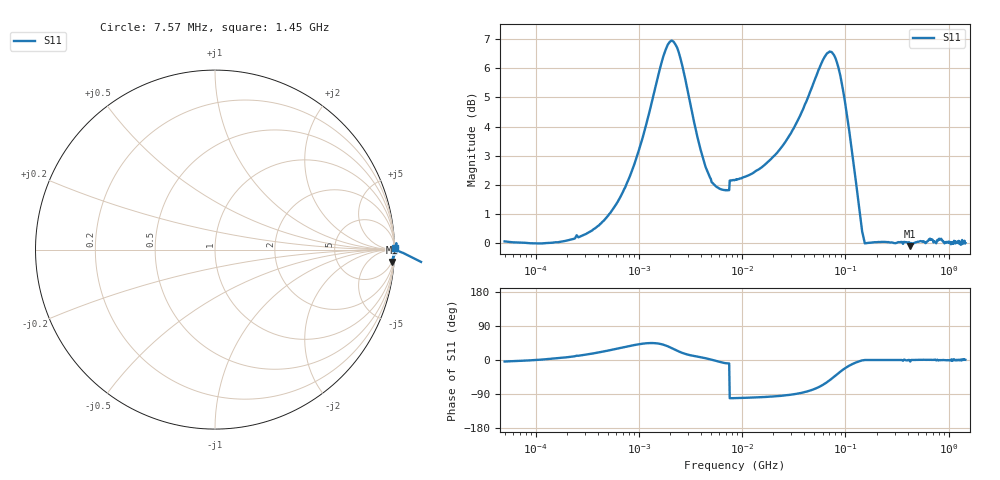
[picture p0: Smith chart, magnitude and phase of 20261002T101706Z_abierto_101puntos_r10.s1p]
! piloto_saltos / abierto_101puntos / r10
# HZ S RI R 50
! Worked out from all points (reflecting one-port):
!   501 points, 50 kHz to 1.45 GHz, reference 50 ohm
!   lowest |S11| = -0.1 dB at 424 MHz (marker M1), VSWR 189.18, Z = 209 - j1.39e+03 ohm
!   phase of S11 starts at -4 deg and turns +5 deg over the sweep
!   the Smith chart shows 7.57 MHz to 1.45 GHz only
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50000  1.006 -0.0701
183000  1.003 0.1059
363500  1.009 0.3184
658000  1.022 0.6299
1180000  1.15 1.116
1630000  1.499 1.355
1990000  1.841 1.231
2440000  1.959 0.8065
3340000  1.615 0.3166
4870000  1.297 0.0433
7300000  1.219 -0.193
7750000  -0.241 -1.26
8560000  -0.2351 -1.263
1.72e7  -0.176 -1.361
3.16e7  -0.012 -1.576
4.69e7  0.3389 -1.812
5.68e7  0.6984 -1.886
6.49e7  1.045 -1.828
7.39e7  1.4 -1.598
8.74e7  1.658 -1.062
9.82e7  1.629 -0.6748
1e8  1.61 -0.6176
1.18e8  1.378 -0.2438
1.36e8  1.148 -0.0686
1.63e8  1.002 -4.1e-05
4.06e8  1.004 0.000643
4.24e8  0.987 -0.0696
1.45e9  1.002 0.0102
